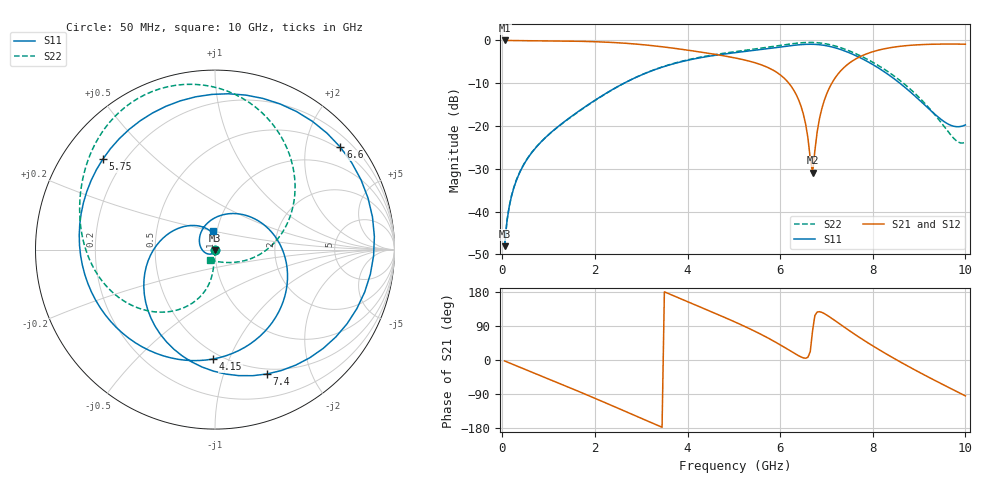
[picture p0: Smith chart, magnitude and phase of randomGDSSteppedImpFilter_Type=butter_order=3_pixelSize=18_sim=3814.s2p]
! freq	dB(S11)	phase(S11)	dB(S12)	phase(S12)
!  dB(S21)	phase(S21)	dB(S22)	phase(S22)
!S-par simulation data
#  GHz  S  DB  R 50
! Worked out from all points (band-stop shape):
!   200 points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, 50 MHz to 10 GHz, reference 50 ohm
!   highest |S21| = 0.00 dB at 50 MHz (marker M1); lowest = -30.9 dB at 6.7 GHz (marker M2)
!   |S21| within 3 dB of the highest: start of sweep to 4.453 GHz; 7.899 GHz to end of sweep
!   lowest |S11| = -48.1 dB at 50 MHz (marker M3), VSWR 1.01, Z = 50 - j0.394 ohm
!   |S11| at or under -10 dB: start of sweep to 2.628 GHz; 8.586 GHz to end of sweep
!   |S22| runs from -48.0 to -0.5 dB; largest |S21 - S12| = 0
!   S11 on the Smith chart (normalised r, x): 50 MHz: 1.00, -0.01; 4.15 GHz: 0.45, -0.88; 5.75 GHz: 0.12, +0.35; 6.6 GHz: 0.45, +2.74; 7.4 GHz: 0.44, -1.41; 10 GHz: 0.95, +0.20
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0.05  -48.09 -91.0  -0.00 -2.5  -0.00 -2.5  -48.00 -85.9
0.2  -36.36 -108.3  -0.02 -10.0  -0.02 -10.0  -36.24 -90.0
0.45  -29.30 -133.5  -0.04 -22.5  -0.04 -22.5  -29.21 -92.2
1.15  -20.62 157.6  -0.10 -57.5  -0.10 -57.5  -20.66 -94.6
1.75  -15.79 99.7  -0.22 -88.1  -0.22 -88.1  -15.87 -97.6
2.65  -9.87 20.9  -0.65 -135.2  -0.65 -135.2  -9.89 -112.5
3.4  -6.43 -37.1  -1.41 -174.9  -1.41 -174.9  -6.38 -133.6
4.15  -4.30 -91.0  -2.50 146.2  -2.50 146.2  -4.18 -157.2
4.6  -3.47 -123.1  -3.26 122.9  -3.26 122.9  -3.30 -171.4
5.05  -2.83 -157.1  -4.14 98.9  -4.14 98.9  -2.59 174.5
5.75  -1.91 141.1  -6.40 57.3  -6.40 57.3  -1.56 151.8
6.2  -1.26 91.2  -10.16 25.5  -10.16 25.5  -0.85 134.2
6.45  -0.98 59.4  -15.36 8.1  -15.36 8.1  -0.56 122.3
6.6  -0.90 39.2  -22.80 7.3  -22.80 7.3  -0.47 114.4
6.7  -0.90 25.5  -30.90 77.2  -30.90 77.2  -0.47 108.9
6.8  -0.95 11.6  -21.32 126.6  -21.32 126.6  -0.53 103.2
6.95  -1.15 -9.0  -14.12 122.7  -14.12 122.7  -0.72 94.4
7.4  -2.49 -67.4  -6.12 85.4  -6.12 85.4  -2.05 68.4
7.85  -4.72 -117.8  -3.20 48.8  -3.20 48.8  -4.22 44.3
8.35  -8.08 -166.1  -1.74 11.8  -1.74 11.8  -7.46 19.3
9.05  -14.37 135.5  -0.98 -35.4  -0.98 -35.4  -13.87 -14.8
10  -19.75 97.2  -0.88 -94.7  -0.88 -94.7  -23.79 -116.3
